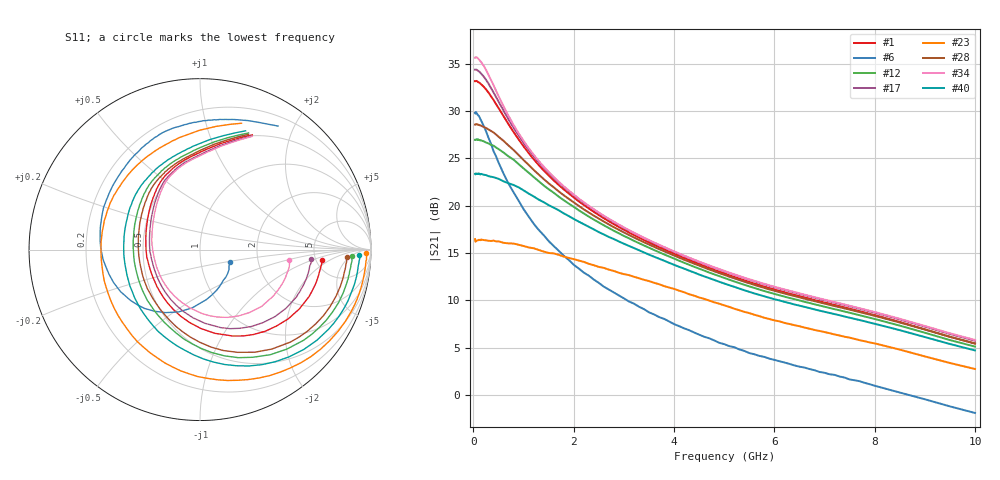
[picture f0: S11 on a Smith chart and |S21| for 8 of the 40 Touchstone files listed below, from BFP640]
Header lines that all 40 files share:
! Infineon Technologies  Discrete & RF Semiconductors
! BFP640
! Common Emitter S-Parameters:  Apr 2013
# GHz  S  MA  R  50
!  f  S11  S21  S12  S22
! GHz  MAG  ANG  MAG  ANG  MAG  ANG  MAG  ANG
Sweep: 30 MHz to 10 GHz
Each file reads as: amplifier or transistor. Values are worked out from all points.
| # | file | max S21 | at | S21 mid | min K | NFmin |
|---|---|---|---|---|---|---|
| 1 | BFP640_w_noise_VCE_1.5V_IC_20mA.s2p | 33.2 dB | 60 MHz | 16.1 dB at 3.5 GHz | 0.01 | 0.85 dB |
| 2 | BFP640_w_noise_VCE_1.5V_IC_25mA.s2p | 34.3 dB | 50 MHz | 16.1 dB at 3.5 GHz | -0.15 | 0.95 dB |
| 3 | BFP640_w_noise_VCE_1.5V_IC_30mA.s2p | 34.5 dB | 70 MHz | 15.9 dB at 3.5 GHz | -0.01 | 1.07 dB |
| 4 | BFP640_w_noise_VCE_1.5V_IC_35mA.s2p | 33.8 dB | 70 MHz | 15.3 dB at 3.5 GHz | 0.16 | 1.16 dB |
| 5 | BFP640_w_noise_VCE_1.5V_IC_40mA.s2p | 32.3 dB | 50 MHz | 12.9 dB at 3.5 GHz | 0.59 | 1.25 dB |
| 6 | BFP640_w_noise_VCE_1.5V_IC_45mA.s2p | 29.9 dB | 50 MHz | 8.7 dB at 3.5 GHz | 1.04 | 1.34 dB |
| 7 | BFP640_w_noise_VCE_2.0V_IC_1.0mA.s2p | 11.3 dB | 30 MHz | 8.6 dB at 3.5 GHz | -0.05 | 0.65 dB |
| 8 | BFP640_w_noise_VCE_2.0V_IC_2.0mA.s2p | 16.5 dB | 30 MHz | 12.0 dB at 3.5 GHz | -0.30 | 0.53 dB |
| 9 | BFP640_w_noise_VCE_2.0V_IC_4.0mA.s2p | 21.9 dB | 70 MHz | 14.3 dB at 3.5 GHz | -0.29 | 0.54 dB |
| 10 | BFP640_w_noise_VCE_2.0V_IC_5.0mA.s2p | 23.4 dB | 70 MHz | 14.8 dB at 3.5 GHz | -0.12 | 0.54 dB |
| 11 | BFP640_w_noise_VCE_2.0V_IC_6.0mA.s2p | 24.9 dB | 50 MHz | 15.1 dB at 3.5 GHz | -0.24 | 0.56 dB |
| 12 | BFP640_w_noise_VCE_2.0V_IC_8.0mA.s2p | 27.0 dB | 80 MHz | 15.6 dB at 3.5 GHz | -0.20 | 0.60 dB |
| 13 | BFP640_w_noise_VCE_2.0V_IC_10mA.s2p | 28.7 dB | 60 MHz | 15.8 dB at 3.5 GHz | 0.00 | 0.64 dB |
| 14 | BFP640_w_noise_VCE_2.0V_IC_12mA.s2p | 29.9 dB | 50 MHz | 16.0 dB at 3.5 GHz | -0.04 | 0.69 dB |
| 15 | BFP640_w_noise_VCE_2.0V_IC_15mA.s2p | 31.4 dB | 50 MHz | 16.2 dB at 3.5 GHz | -0.07 | 0.75 dB |
| 16 | BFP640_w_noise_VCE_2.0V_IC_20mA.s2p | 33.2 dB | 50 MHz | 16.3 dB at 3.5 GHz | -0.15 | 0.85 dB |
| 17 | BFP640_w_noise_VCE_2.0V_IC_25mA.s2p | 34.4 dB | 50 MHz | 16.3 dB at 3.5 GHz | -0.21 | 0.95 dB |
| 18 | BFP640_w_noise_VCE_2.0V_IC_30mA.s2p | 35.1 dB | 50 MHz | 16.3 dB at 3.5 GHz | -0.01 | 1.07 dB |
| 19 | BFP640_w_noise_VCE_2.0V_IC_35mA.s2p | 35.2 dB | 70 MHz | 16.1 dB at 3.5 GHz | -0.01 | 1.16 dB |
| 20 | BFP640_w_noise_VCE_2.0V_IC_40mA.s2p | 34.6 dB | 60 MHz | 15.6 dB at 3.5 GHz | 0.06 | 1.25 dB |
| 21 | BFP640_w_noise_VCE_2.0V_IC_45mA.s2p | 33.3 dB | 60 MHz | 13.6 dB at 3.5 GHz | 0.54 | 1.34 dB |
| 22 | BFP640_w_noise_VCE_2.5V_IC_1.0mA.s2p | 11.3 dB | 30 MHz | 8.7 dB at 3.5 GHz | -0.28 | 0.65 dB |
| 23 | BFP640_w_noise_VCE_2.5V_IC_2.0mA.s2p | 16.5 dB | 30 MHz | 12.0 dB at 3.5 GHz | -0.32 | 0.53 dB |
| 24 | BFP640_w_noise_VCE_2.5V_IC_4.0mA.s2p | 21.8 dB | 70 MHz | 14.3 dB at 3.5 GHz | -0.17 | 0.54 dB |
| 25 | BFP640_w_noise_VCE_2.5V_IC_5.0mA.s2p | 23.4 dB | 60 MHz | 14.8 dB at 3.5 GHz | -0.71 | 0.54 dB |
| 26 | BFP640_w_noise_VCE_2.5V_IC_6.0mA.s2p | 24.8 dB | 50 MHz | 15.2 dB at 3.5 GHz | -0.29 | 0.56 dB |
| 27 | BFP640_w_noise_VCE_2.5V_IC_8.0mA.s2p | 27.0 dB | 50 MHz | 15.6 dB at 3.5 GHz | -0.26 | 0.60 dB |
| 28 | BFP640_w_noise_VCE_2.5V_IC_10mA.s2p | 28.6 dB | 50 MHz | 15.9 dB at 3.5 GHz | -0.15 | 0.64 dB |
| 29 | BFP640_w_noise_VCE_2.5V_IC_12mA.s2p | 29.9 dB | 50 MHz | 16.1 dB at 3.5 GHz | -0.23 | 0.69 dB |
| 30 | BFP640_w_noise_VCE_2.5V_IC_15mA.s2p | 31.4 dB | 50 MHz | 16.2 dB at 3.5 GHz | -0.23 | 0.75 dB |
| 31 | BFP640_w_noise_VCE_2.5V_IC_20mA.s2p | 33.1 dB | 50 MHz | 16.4 dB at 3.5 GHz | -0.30 | 0.85 dB |
| 32 | BFP640_w_noise_VCE_2.5V_IC_25mA.s2p | 34.4 dB | 50 MHz | 16.4 dB at 3.5 GHz | 0.03 | 0.95 dB |
| 33 | BFP640_w_noise_VCE_2.5V_IC_30mA.s2p | 35.2 dB | 30 MHz | 16.4 dB at 3.5 GHz | -0.12 | 1.07 dB |
| 34 | BFP640_w_noise_VCE_2.5V_IC_35mA.s2p | 35.7 dB | 50 MHz | 16.4 dB at 3.5 GHz | 0.07 | 1.16 dB |
| 35 | BFP640_w_noise_VCE_2.5V_IC_40mA.s2p | 35.6 dB | 60 MHz | 16.2 dB at 3.5 GHz | 0.06 | 1.25 dB |
| 36 | BFP640_w_noise_VCE_2.5V_IC_45mA.s2p | 34.9 dB | 60 MHz | 15.6 dB at 3.5 GHz | 0.19 | 1.34 dB |
| 37 | BFP640_w_noise_VCE_3.0V_IC_1.0mA.s2p | 11.3 dB | 30 MHz | 8.7 dB at 3.5 GHz | -0.06 | 0.65 dB |
| 38 | BFP640_w_noise_VCE_3.0V_IC_2.0mA.s2p | 16.5 dB | 30 MHz | 12.0 dB at 3.5 GHz | -0.29 | 0.53 dB |
| 39 | BFP640_w_noise_VCE_3.0V_IC_4.0mA.s2p | 21.8 dB | 70 MHz | 14.4 dB at 3.5 GHz | -0.12 | 0.54 dB |
| 40 | BFP640_w_noise_VCE_3.0V_IC_5.0mA.s2p | 23.4 dB | 50 MHz | 14.8 dB at 3.5 GHz | -0.15 | 0.54 dB |

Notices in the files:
BFP640/BFP640_w_noise_VCE_1.5V_IC_20mA.s2p:
(c) 2013  Infineon Technologies AG, Munich
